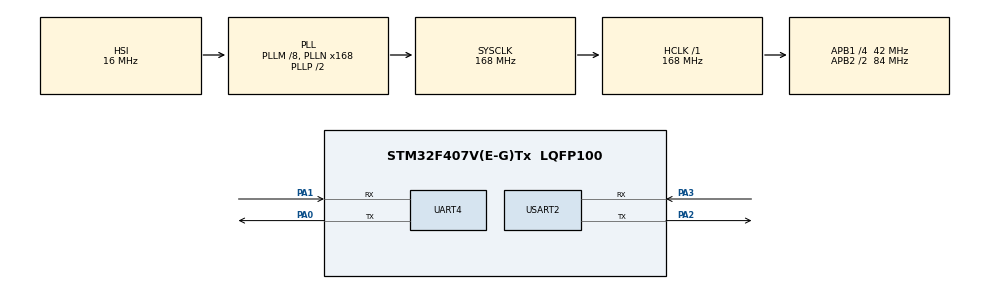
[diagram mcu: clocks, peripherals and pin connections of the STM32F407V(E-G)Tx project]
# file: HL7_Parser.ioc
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Mcu.Family=STM32F4
Mcu.Name=STM32F407V(E-G)Tx
Mcu.Package=LQFP100
NVIC.PriorityGroup=NVIC_PRIORITYGROUP_4
PA0-WKUP.Mode=Asynchronous
PA0-WKUP.Signal=UART4_TX
PA1.Mode=Asynchronous
PA1.Signal=UART4_RX
PA2.Mode=Asynchronous
PA2.Signal=USART2_TX
PA3.Mode=Asynchronous
PA3.Signal=USART2_RX
PH0-OSC_IN.Mode=HSE-External-Oscillator
PH0-OSC_IN.Signal=RCC_OSC_IN
PH1-OSC_OUT.Mode=HSE-External-Oscillator
PH1-OSC_OUT.Signal=RCC_OSC_OUT
ProjectManager.HeapSize=0x200
ProjectManager.StackSize=0x400
ProjectManager.TargetToolchain=CMake
RCC.48MHZClocksFreq_Value=84000000
RCC.AHBFreq_Value=168000000
RCC.APB1CLKDivider=RCC_HCLK_DIV4
RCC.APB1Freq_Value=42000000
RCC.APB1TimFreq_Value=84000000
RCC.APB2CLKDivider=RCC_HCLK_DIV2
RCC.APB2Freq_Value=84000000
RCC.APB2TimFreq_Value=168000000
RCC.CortexFreq_Value=168000000
RCC.HCLKFreq_Value=168000000
RCC.HSE_VALUE=8000000
RCC.HSI_VALUE=16000000
RCC.LSE_VALUE=32768
RCC.PLLM=8
RCC.PLLN=168
RCC.SYSCLKFreq_VALUE=168000000
RCC.SYSCLKSource=RCC_SYSCLKSOURCE_PLLCLK
RCC.VCOOutputFreq_Value=336000000
UART4.VirtualMode=Asynchronous
USART2.VirtualMode=VM_ASYNC
board=custom

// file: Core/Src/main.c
/* USER CODE BEGIN Header */
/**
  ******************************************************************************
  * @file           : main.c
  * @brief          : Main program body
  ******************************************************************************
  * @attention
  *
  * Copyright (c) 2026 STMicroelectronics.
  * All rights reserved.
  *
  * This software is licensed under terms that can be found in the LICENSE file
  * in the root directory of this software component.
  * If no LICENSE file comes with this software, it is provided AS-IS.
  *
  ******************************************************************************
  */
/* USER CODE END Header */
#include "main.h"

/* USER CODE BEGIN Includes */
#include "mllp_framer.h"
#include "ring_buffer.h"
#include "patient_vitals.h"
#include "hl7_parser.h"
#include "hl7_ack.h"
/* USER CODE END Includes */

UART_HandleTypeDef huart4;
UART_HandleTypeDef huart2;

/* USER CODE BEGIN PV */
static RingBuffer_Handle_t g_uart4RxRing;
static MllpFramer_Handle_t g_mllpFramer;
static PatientVitals_t g_patientVitals;
static uint8_t g_rxByte;
/* USER CODE END PV */

void SystemClock_Config(void);
static void MX_GPIO_Init(void);
static void MX_UART4_Init(void);
static void MX_USART2_UART_Init(void);

/* USER CODE BEGIN 0 */
/**
  * @brief This function handles UART4 global interrupt.
  */
void UART4_IRQHandler(void)
{
    HAL_UART_IRQHandler(&huart4);
}

/**
  * @brief This function handles USART2 global interrupt.
  */
void USART2_IRQHandler(void)
{
    HAL_UART_IRQHandler(&huart2);
}
/* USER CODE END 0 */

int main(void)
{

  /* MCU Configuration--------------------------------------------------------*/

  /* Reset of all peripherals, Initializes the Flash interface and the Systick. */
  HAL_Init();

  /* Configure the system clock */
  SystemClock_Config();

  /* Initialize all configured peripherals */
  MX_GPIO_Init();
  MX_UART4_Init();
  MX_USART2_UART_Init();
  /* USER CODE BEGIN 2 */
  ringBuffer_init(&g_uart4RxRing);
  mllpFramer_init(&g_mllpFramer);
  patientVitals_init(&g_patientVitals);
  HAL_UART_Receive_IT(&huart4, &g_rxByte, 1u);
  /* USER CODE END 2 */

  /* Infinite loop */
  /* USER CODE BEGIN WHILE */
  while (1)
  {
      uint8_t rxByte;
      uint32_t nowTick = HAL_GetTick();

      while (ringBuffer_pop(&g_uart4RxRing, &rxByte))
      {
          if (mllpFramer_processByte(&g_mllpFramer, rxByte, nowTick))
          {
              Hl7Parser_Result_t parseResult;

              hl7Parser_parseMessage(g_mllpFramer.msgBuffer, g_mllpFramer.msgLen, &g_patientVitals, &parseResult);

              // A framing error (overflow, second VT, etc.) that occurred while this frame was
              // open makes it AE even if the surviving bytes happened to parse cleanly.
              parseResult.success = parseResult.success && !g_mllpFramer.lastFrameHadError;

              (void)hl7Ack_send(&huart4, &parseResult);
              // TODO: update UART2 display from g_patientVitals
          }
      }

      mllpFramer_poll(&g_mllpFramer, nowTick);

      /* USER CODE END WHILE */
  }
}

void SystemClock_Config(void)
{
  RCC_OscInitTypeDef RCC_OscInitStruct = {0};
  RCC_ClkInitTypeDef RCC_ClkInitStruct = {0};

  /** Configure the main internal regulator output voltage
  */
  __HAL_RCC_PWR_CLK_ENABLE();
  __HAL_PWR_VOLTAGESCALING_CONFIG(PWR_REGULATOR_VOLTAGE_SCALE1);

  /** Initializes the RCC Oscillators according to the specified parameters
  * in the RCC_OscInitTypeDef structure.
  */
  RCC_OscInitStruct.OscillatorType = RCC_OSCILLATORTYPE_HSI;
  RCC_OscInitStruct.HSIState = RCC_HSI_ON;
  RCC_OscInitStruct.HSICalibrationValue = RCC_HSICALIBRATION_DEFAULT;
  RCC_OscInitStruct.PLL.PLLState = RCC_PLL_ON;
  RCC_OscInitStruct.PLL.PLLSource = RCC_PLLSOURCE_HSI;
  RCC_OscInitStruct.PLL.PLLM = 8;
  RCC_OscInitStruct.PLL.PLLN = 168;
  RCC_OscInitStruct.PLL.PLLP = RCC_PLLP_DIV2;
  RCC_OscInitStruct.PLL.PLLQ = 4;
  if (HAL_RCC_OscConfig(&RCC_OscInitStruct) != HAL_OK)
  {
    Error_Handler();
  }

  /** Initializes the CPU, AHB and APB buses clocks
  */
  RCC_ClkInitStruct.ClockType = RCC_CLOCKTYPE_HCLK|RCC_CLOCKTYPE_SYSCLK
                              |RCC_CLOCKTYPE_PCLK1|RCC_CLOCKTYPE_PCLK2;
  RCC_ClkInitStruct.SYSCLKSource = RCC_SYSCLKSOURCE_PLLCLK;
  RCC_ClkInitStruct.AHBCLKDivider = RCC_SYSCLK_DIV1;
  RCC_ClkInitStruct.APB1CLKDivider = RCC_HCLK_DIV4;
  RCC_ClkInitStruct.APB2CLKDivider = RCC_HCLK_DIV2;

  if (HAL_RCC_ClockConfig(&RCC_ClkInitStruct, FLASH_LATENCY_5) != HAL_OK)
  {
    Error_Handler();
  }
}

static void MX_UART4_Init(void)
{

  huart4.Instance = UART4;
  huart4.Init.BaudRate = 115200;
  huart4.Init.WordLength = UART_WORDLENGTH_8B;
  huart4.Init.StopBits = UART_STOPBITS_1;
  huart4.Init.Parity = UART_PARITY_NONE;
  huart4.Init.Mode = UART_MODE_TX_RX;
  huart4.Init.HwFlowCtl = UART_HWCONTROL_NONE;
  huart4.Init.OverSampling = UART_OVERSAMPLING_16;
  if (HAL_UART_Init(&huart4) != HAL_OK)
  {
    Error_Handler();
  }

}

static void MX_USART2_UART_Init(void)
{

  huart2.Instance = USART2;
  huart2.Init.BaudRate = 115200;
  huart2.Init.WordLength = UART_WORDLENGTH_8B;
  huart2.Init.StopBits = UART_STOPBITS_1;
  huart2.Init.Parity = UART_PARITY_NONE;
  huart2.Init.Mode = UART_MODE_TX_RX;
  huart2.Init.HwFlowCtl = UART_HWCONTROL_NONE;
  huart2.Init.OverSampling = UART_OVERSAMPLING_16;
  if (HAL_UART_Init(&huart2) != HAL_OK)
  {
    Error_Handler();
  }

}

static void MX_GPIO_Init(void)
{

  /* GPIO Ports Clock Enable */
  __HAL_RCC_GPIOH_CLK_ENABLE();
  __HAL_RCC_GPIOA_CLK_ENABLE();

}

/* USER CODE BEGIN 4 */
/**
 * @brief HAL UART RX complete callback - fires from ISR context on every received byte
 * @param huart UART handle that completed reception
 * @retval None
 */
void HAL_UART_RxCpltCallback(UART_HandleTypeDef *huart)
{
    if (UART4 == huart->Instance)  // Yoda condition
    {
        (void)ringBuffer_push(&g_uart4RxRing, g_rxByte);
        (void)HAL_UART_Receive_IT(&huart4, &g_rxByte, 1u);  // re-arm for next byte
    }
}
/* USER CODE END 4 */

void Error_Handler(void)
{
  __disable_irq();
  while (1)
  {
  }
}
